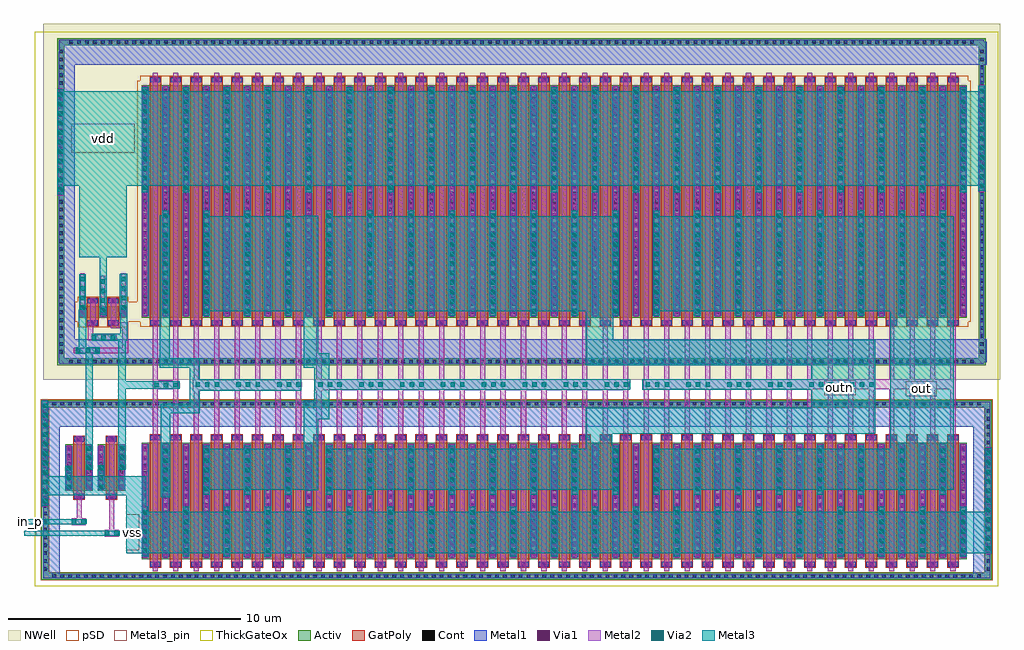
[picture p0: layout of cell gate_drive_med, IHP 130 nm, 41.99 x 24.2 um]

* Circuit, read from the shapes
.subckt gate_drive_med in_n in_p out outn vdd vss
XM1 sg13_hv_pmos_2TUKLB_1/D0 in_p vss vss sg13_hv_nmos w=2u l=0.5u
XM2 sg13_hv_nmos_CJ33WB_63/D1 in_n vss vss sg13_hv_nmos w=2u l=0.5u
XM3 sg13_hv_nmos_VCL2HP_2/G2 sg13_hv_nmos_CJ33WB_63/D1 vss vss sg13_hv_nmos w=5u l=0.5u m=2
XM4 sg13_hv_nmos_VCL2HP_2/G10 sg13_hv_nmos_VCL2HP_2/G2 vss vss sg13_hv_nmos w=5u l=0.5u m=6
XM5 outn sg13_hv_nmos_VCL2HP_2/G10 vss vss sg13_hv_nmos w=5u l=0.5u m=16
XM6 out outn vss vss sg13_hv_nmos w=5u l=0.5u m=16
XM7 vdd sg13_hv_nmos_CJ33WB_63/D1 sg13_hv_pmos_2TUKLB_1/D0 vdd sg13_hv_pmos w=0.5u l=0.5u
XM8 sg13_hv_nmos_CJ33WB_63/D1 sg13_hv_pmos_2TUKLB_1/D0 vdd vdd sg13_hv_pmos w=0.5u l=0.5u
XM9 sg13_hv_nmos_VCL2HP_2/G2 sg13_hv_nmos_CJ33WB_63/D1 vdd vdd sg13_hv_pmos w=10u l=0.5u m=2
XM10 sg13_hv_nmos_VCL2HP_2/G10 sg13_hv_nmos_VCL2HP_2/G2 vdd vdd sg13_hv_pmos w=10u l=0.5u m=6
XM11 outn sg13_hv_nmos_VCL2HP_2/G10 vdd vdd sg13_hv_pmos w=10u l=0.5u m=16
XM12 out outn vdd vdd sg13_hv_pmos w=10u l=0.5u m=16
.ends

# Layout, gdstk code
from math import pi, radians
import gdstk
lib = gdstk.Library(unit=1e-6, precision=1e-09)
def R(c, l, rs):  # rectangles x0, y0, x1, y1
    for r in rs: c.add(gdstk.rectangle(r[:2], r[2:], *l))
def A(c, l, x, y, w, h, nx, ny, dx, dy):  # array of equal rectangles
    R(c, l, [(x+i*dx, y+j*dy, x+i*dx+w, y+j*dy+h) for i in range(nx) for j in range(ny)])
Activ = (1, 0)
GatPoly = (5, 0)
Cont = (6, 0)
Metal1 = (8, 0)
Metal2 = (10, 0)
pSD = (14, 0)
Via1 = (19, 0)
Via2 = (29, 0)
Metal3 = (30, 0)
Metal3_pin = (30, 2)
NWell = (31, 0)
ThickGateOx = (44, 0)

via_y6z86n = lib.new_cell('via_Y6Z86N')
R(via_y6z86n, Metal2, [(-0.1,-1.105,0.1,1.105)])
A(via_y6z86n, Via2, -0.095, -0.915, 0.19, 0.19, 1, 5, 0, 0.41)
R(via_y6z86n, Metal3, [(-0.145,-1.06,0.145,1.06)])

sg13_hv_pmos_2tuklb = lib.new_cell('sg13_hv_pmos_2TUKLB')
R(sg13_hv_pmos_2tuklb, Activ, [(-1.03,-0.25,1.03,0.25)])
R(sg13_hv_pmos_2tuklb, GatPoly, [(-0.69,-0.62,-0.19,0.62), (0.19,-0.62,0.69,0.62)])
A(sg13_hv_pmos_2tuklb, Cont, -0.96, -0.08, 0.16, 0.16, 3, 1, 0.88, 0)
R(sg13_hv_pmos_2tuklb, Cont, [(-0.52,-0.55,-0.36,-0.39), (0.36,-0.55,0.52,-0.39), (-0.52,0.39,-0.36,0.55), (0.36,0.39,0.52,0.55)])
A(sg13_hv_pmos_2tuklb, Metal1, -1.03, -0.18, 0.3, 0.36, 3, 1, 0.88, 0)
R(sg13_hv_pmos_2tuklb, Metal1, [(-0.655,-0.575,-0.225,-0.365), (0.225,-0.575,0.655,-0.365), (-0.655,0.365,-0.225,0.575), (0.225,0.365,0.655,0.575)])
A(sg13_hv_pmos_2tuklb, Metal2, -0.98, -0.22, 0.2, 0.44, 3, 1, 0.88, 0)
R(sg13_hv_pmos_2tuklb, Metal2, [(-0.55,-0.615,-0.33,-0.325), (0.33,-0.615,0.55,-0.325), (-0.55,0.325,-0.33,0.615), (0.33,0.325,0.55,0.615)])
R(sg13_hv_pmos_2tuklb, pSD, [(-1.09,-0.65,1.09,-0.43), (-1.21,-0.43,1.21,0.43), (-1.09,0.43,1.09,0.65)])
A(sg13_hv_pmos_2tuklb, Via1, -0.975, -0.095, 0.19, 0.19, 3, 1, 0.88, 0)
R(sg13_hv_pmos_2tuklb, Via1, [(-0.535,-0.565,-0.345,-0.375), (0.345,-0.565,0.535,-0.375), (-0.535,0.375,-0.345,0.565), (0.345,0.375,0.535,0.565)])
R(sg13_hv_pmos_2tuklb, NWell, [(-1.65,-0.87,1.65,0.87)])
R(sg13_hv_pmos_2tuklb, ThickGateOx, [(-1.3,-0.52,1.3,0.52)])
sg13_hv_pmos_2tuklb.add(gdstk.Label('D0', (-0.88,0), layer=8, texttype=25))
sg13_hv_pmos_2tuklb.add(gdstk.Label('G0', (-0.44,0.47), layer=8, texttype=25))
sg13_hv_pmos_2tuklb.add(gdstk.Label('S1', (0,0), layer=8, texttype=25))
sg13_hv_pmos_2tuklb.add(gdstk.Label('G1', (0.44,0.47), layer=8, texttype=25))

sg13_hv_nmos_vcl2hp = lib.new_cell('sg13_hv_nmos_VCL2HP')
R(sg13_hv_nmos_vcl2hp, Activ, [(-17.75,-2.5,17.75,2.5)])
A(sg13_hv_nmos_vcl2hp, GatPoly, -17.41, -2.87, 0.5, 5.74, 40, 1, 0.88, 0)
A(sg13_hv_nmos_vcl2hp, Cont, -17.24, -2.8, 0.16, 0.16, 40, 2, 0.88, 5.44)
A(sg13_hv_nmos_vcl2hp, Cont, -17.68, -2.29, 0.16, 0.16, 41, 14, 0.88, 0.34)
A(sg13_hv_nmos_vcl2hp, Metal1, -17.375, -2.825, 0.43, 0.21, 40, 2, 0.88, 5.44)
A(sg13_hv_nmos_vcl2hp, Metal1, -17.75, -2.43, 0.3, 4.86, 41, 1, 0.88, 0)
A(sg13_hv_nmos_vcl2hp, Metal2, -17.27, -2.865, 0.22, 0.29, 40, 2, 0.88, 5.44)
A(sg13_hv_nmos_vcl2hp, Metal2, -17.7, -2.47, 0.2, 4.94, 41, 1, 0.88, 0)
A(sg13_hv_nmos_vcl2hp, Via1, -17.255, -2.815, 0.19, 0.19, 40, 2, 0.88, 5.44)
A(sg13_hv_nmos_vcl2hp, Via1, -17.695, -2.35, 0.19, 0.19, 41, 12, 0.88, 0.41)
R(sg13_hv_nmos_vcl2hp, ThickGateOx, [(-18.02,-2.77,18.02,2.77)])
sg13_hv_nmos_vcl2hp.add(gdstk.Label('D0', (-17.6,0), layer=8, texttype=25))
sg13_hv_nmos_vcl2hp.add(gdstk.Label('G0', (-17.16,2.72), layer=8, texttype=25))
sg13_hv_nmos_vcl2hp.add(gdstk.Label('S1', (-16.72,0), layer=8, texttype=25))
sg13_hv_nmos_vcl2hp.add(gdstk.Label('G1', (-16.28,2.72), layer=8, texttype=25))
sg13_hv_nmos_vcl2hp.add(gdstk.Label('D2', (-15.84,0), layer=8, texttype=25))
sg13_hv_nmos_vcl2hp.add(gdstk.Label('G2', (-15.4,2.72), layer=8, texttype=25))
sg13_hv_nmos_vcl2hp.add(gdstk.Label('S3', (-14.96,0), layer=8, texttype=25))
sg13_hv_nmos_vcl2hp.add(gdstk.Label('G3', (-14.52,2.72), layer=8, texttype=25))
sg13_hv_nmos_vcl2hp.add(gdstk.Label('D4', (-14.08,0), layer=8, texttype=25))
sg13_hv_nmos_vcl2hp.add(gdstk.Label('G4', (-13.64,2.72), layer=8, texttype=25))
sg13_hv_nmos_vcl2hp.add(gdstk.Label('S5', (-13.2,0), layer=8, texttype=25))
sg13_hv_nmos_vcl2hp.add(gdstk.Label('G5', (-12.76,2.72), layer=8, texttype=25))
sg13_hv_nmos_vcl2hp.add(gdstk.Label('D6', (-12.32,0), layer=8, texttype=25))
sg13_hv_nmos_vcl2hp.add(gdstk.Label('G6', (-11.88,2.72), layer=8, texttype=25))
sg13_hv_nmos_vcl2hp.add(gdstk.Label('S7', (-11.44,0), layer=8, texttype=25))
sg13_hv_nmos_vcl2hp.add(gdstk.Label('G7', (-11,2.72), layer=8, texttype=25))
sg13_hv_nmos_vcl2hp.add(gdstk.Label('D8', (-10.56,0), layer=8, texttype=25))
sg13_hv_nmos_vcl2hp.add(gdstk.Label('G8', (-10.12,2.72), layer=8, texttype=25))
sg13_hv_nmos_vcl2hp.add(gdstk.Label('S9', (-9.68,0), layer=8, texttype=25))
sg13_hv_nmos_vcl2hp.add(gdstk.Label('G9', (-9.24,2.72), layer=8, texttype=25))
sg13_hv_nmos_vcl2hp.add(gdstk.Label('D10', (-8.8,0), layer=8, texttype=25))
sg13_hv_nmos_vcl2hp.add(gdstk.Label('G10', (-8.36,2.72), layer=8, texttype=25))
sg13_hv_nmos_vcl2hp.add(gdstk.Label('S11', (-7.92,0), layer=8, texttype=25))
sg13_hv_nmos_vcl2hp.add(gdstk.Label('G11', (-7.48,2.72), layer=8, texttype=25))
sg13_hv_nmos_vcl2hp.add(gdstk.Label('D12', (-7.04,0), layer=8, texttype=25))
sg13_hv_nmos_vcl2hp.add(gdstk.Label('G12', (-6.6,2.72), layer=8, texttype=25))
sg13_hv_nmos_vcl2hp.add(gdstk.Label('S13', (-6.16,0), layer=8, texttype=25))
sg13_hv_nmos_vcl2hp.add(gdstk.Label('G13', (-5.72,2.72), layer=8, texttype=25))
sg13_hv_nmos_vcl2hp.add(gdstk.Label('D14', (-5.28,0), layer=8, texttype=25))
sg13_hv_nmos_vcl2hp.add(gdstk.Label('G14', (-4.84,2.72), layer=8, texttype=25))
sg13_hv_nmos_vcl2hp.add(gdstk.Label('S15', (-4.4,0), layer=8, texttype=25))
sg13_hv_nmos_vcl2hp.add(gdstk.Label('G15', (-3.96,2.72), layer=8, texttype=25))
sg13_hv_nmos_vcl2hp.add(gdstk.Label('D16', (-3.52,0), layer=8, texttype=25))
sg13_hv_nmos_vcl2hp.add(gdstk.Label('G16', (-3.08,2.72), layer=8, texttype=25))
sg13_hv_nmos_vcl2hp.add(gdstk.Label('S17', (-2.64,0), layer=8, texttype=25))
sg13_hv_nmos_vcl2hp.add(gdstk.Label('G17', (-2.2,2.72), layer=8, texttype=25))
sg13_hv_nmos_vcl2hp.add(gdstk.Label('D18', (-1.76,0), layer=8, texttype=25))
sg13_hv_nmos_vcl2hp.add(gdstk.Label('G18', (-1.32,2.72), layer=8, texttype=25))
sg13_hv_nmos_vcl2hp.add(gdstk.Label('S19', (-0.88,0), layer=8, texttype=25))
sg13_hv_nmos_vcl2hp.add(gdstk.Label('G19', (-0.44,2.72), layer=8, texttype=25))
sg13_hv_nmos_vcl2hp.add(gdstk.Label('D20', (0,0), layer=8, texttype=25))
sg13_hv_nmos_vcl2hp.add(gdstk.Label('G20', (0.44,2.72), layer=8, texttype=25))
sg13_hv_nmos_vcl2hp.add(gdstk.Label('S21', (0.88,0), layer=8, texttype=25))
sg13_hv_nmos_vcl2hp.add(gdstk.Label('G21', (1.32,2.72), layer=8, texttype=25))
sg13_hv_nmos_vcl2hp.add(gdstk.Label('D22', (1.76,0), layer=8, texttype=25))
sg13_hv_nmos_vcl2hp.add(gdstk.Label('G22', (2.2,2.72), layer=8, texttype=25))
sg13_hv_nmos_vcl2hp.add(gdstk.Label('S23', (2.64,0), layer=8, texttype=25))
sg13_hv_nmos_vcl2hp.add(gdstk.Label('G23', (3.08,2.72), layer=8, texttype=25))
sg13_hv_nmos_vcl2hp.add(gdstk.Label('D24', (3.52,0), layer=8, texttype=25))
sg13_hv_nmos_vcl2hp.add(gdstk.Label('G24', (3.96,2.72), layer=8, texttype=25))
sg13_hv_nmos_vcl2hp.add(gdstk.Label('S25', (4.4,0), layer=8, texttype=25))
sg13_hv_nmos_vcl2hp.add(gdstk.Label('G25', (4.84,2.72), layer=8, texttype=25))
sg13_hv_nmos_vcl2hp.add(gdstk.Label('D26', (5.28,0), layer=8, texttype=25))
sg13_hv_nmos_vcl2hp.add(gdstk.Label('G26', (5.72,2.72), layer=8, texttype=25))
sg13_hv_nmos_vcl2hp.add(gdstk.Label('S27', (6.16,0), layer=8, texttype=25))
sg13_hv_nmos_vcl2hp.add(gdstk.Label('G27', (6.6,2.72), layer=8, texttype=25))
sg13_hv_nmos_vcl2hp.add(gdstk.Label('D28', (7.04,0), layer=8, texttype=25))
sg13_hv_nmos_vcl2hp.add(gdstk.Label('G28', (7.48,2.72), layer=8, texttype=25))
sg13_hv_nmos_vcl2hp.add(gdstk.Label('S29', (7.92,0), layer=8, texttype=25))
sg13_hv_nmos_vcl2hp.add(gdstk.Label('G29', (8.36,2.72), layer=8, texttype=25))
sg13_hv_nmos_vcl2hp.add(gdstk.Label('D30', (8.8,0), layer=8, texttype=25))
sg13_hv_nmos_vcl2hp.add(gdstk.Label('G30', (9.24,2.72), layer=8, texttype=25))
sg13_hv_nmos_vcl2hp.add(gdstk.Label('S31', (9.68,0), layer=8, texttype=25))
sg13_hv_nmos_vcl2hp.add(gdstk.Label('G31', (10.12,2.72), layer=8, texttype=25))
sg13_hv_nmos_vcl2hp.add(gdstk.Label('D32', (10.56,0), layer=8, texttype=25))
sg13_hv_nmos_vcl2hp.add(gdstk.Label('G32', (11,2.72), layer=8, texttype=25))
sg13_hv_nmos_vcl2hp.add(gdstk.Label('S33', (11.44,0), layer=8, texttype=25))
sg13_hv_nmos_vcl2hp.add(gdstk.Label('G33', (11.88,2.72), layer=8, texttype=25))
sg13_hv_nmos_vcl2hp.add(gdstk.Label('D34', (12.32,0), layer=8, texttype=25))
sg13_hv_nmos_vcl2hp.add(gdstk.Label('G34', (12.76,2.72), layer=8, texttype=25))
sg13_hv_nmos_vcl2hp.add(gdstk.Label('S35', (13.2,0), layer=8, texttype=25))
sg13_hv_nmos_vcl2hp.add(gdstk.Label('G35', (13.64,2.72), layer=8, texttype=25))
sg13_hv_nmos_vcl2hp.add(gdstk.Label('D36', (14.08,0), layer=8, texttype=25))
sg13_hv_nmos_vcl2hp.add(gdstk.Label('G36', (14.52,2.72), layer=8, texttype=25))
sg13_hv_nmos_vcl2hp.add(gdstk.Label('S37', (14.96,0), layer=8, texttype=25))
sg13_hv_nmos_vcl2hp.add(gdstk.Label('G37', (15.4,2.72), layer=8, texttype=25))
sg13_hv_nmos_vcl2hp.add(gdstk.Label('D38', (15.84,0), layer=8, texttype=25))
sg13_hv_nmos_vcl2hp.add(gdstk.Label('G38', (16.28,2.72), layer=8, texttype=25))
sg13_hv_nmos_vcl2hp.add(gdstk.Label('S39', (16.72,0), layer=8, texttype=25))
sg13_hv_nmos_vcl2hp.add(gdstk.Label('G39', (17.16,2.72), layer=8, texttype=25))

via_y2rfx7 = lib.new_cell('via_Y2RFX7')
R(via_y2rfx7, Metal2, [(-0.1,-2.305,0.1,2.305)])
A(via_y2rfx7, Via2, -0.095, -2.145, 0.19, 0.19, 1, 11, 0, 0.41)
R(via_y2rfx7, Metal3, [(-0.145,-2.26,0.145,2.26)])

sg13_hv_pmos_g9zgu3 = lib.new_cell('sg13_hv_pmos_G9ZGU3')
R(sg13_hv_pmos_g9zgu3, Activ, [(-17.75,-5,17.75,5)])
A(sg13_hv_pmos_g9zgu3, GatPoly, -17.41, -5.37, 0.5, 10.74, 40, 1, 0.88, 0)
A(sg13_hv_pmos_g9zgu3, Cont, -17.24, -5.3, 0.16, 0.16, 40, 2, 0.88, 10.44)
A(sg13_hv_pmos_g9zgu3, Cont, -17.68, -4.84, 0.16, 0.16, 41, 29, 0.88, 0.34)
A(sg13_hv_pmos_g9zgu3, Metal1, -17.375, -5.325, 0.43, 0.21, 40, 2, 0.88, 10.44)
A(sg13_hv_pmos_g9zgu3, Metal1, -17.75, -4.93, 0.3, 9.86, 41, 1, 0.88, 0)
A(sg13_hv_pmos_g9zgu3, Metal2, -17.27, -5.365, 0.22, 0.29, 40, 2, 0.88, 10.44)
A(sg13_hv_pmos_g9zgu3, Metal2, -17.7, -4.97, 0.2, 9.94, 41, 1, 0.88, 0)
R(sg13_hv_pmos_g9zgu3, pSD, [(-17.81,-5.4,17.81,-5.18), (-17.93,-5.18,17.93,5.18), (-17.81,5.18,17.81,5.4)])
A(sg13_hv_pmos_g9zgu3, Via1, -17.255, -5.315, 0.19, 0.19, 40, 2, 0.88, 10.44)
A(sg13_hv_pmos_g9zgu3, Via1, -17.695, -4.81, 0.19, 0.19, 41, 24, 0.88, 0.41)
R(sg13_hv_pmos_g9zgu3, NWell, [(-18.37,-5.62,18.37,5.62)])
R(sg13_hv_pmos_g9zgu3, ThickGateOx, [(-18.02,-5.27,18.02,5.27)])
sg13_hv_pmos_g9zgu3.add(gdstk.Label('D0', (-17.6,0), layer=8, texttype=25))
sg13_hv_pmos_g9zgu3.add(gdstk.Label('G0', (-17.16,5.22), layer=8, texttype=25))
sg13_hv_pmos_g9zgu3.add(gdstk.Label('S1', (-16.72,0), layer=8, texttype=25))
sg13_hv_pmos_g9zgu3.add(gdstk.Label('G1', (-16.28,5.22), layer=8, texttype=25))
sg13_hv_pmos_g9zgu3.add(gdstk.Label('D2', (-15.84,0), layer=8, texttype=25))
sg13_hv_pmos_g9zgu3.add(gdstk.Label('G2', (-15.4,5.22), layer=8, texttype=25))
sg13_hv_pmos_g9zgu3.add(gdstk.Label('S3', (-14.96,0), layer=8, texttype=25))
sg13_hv_pmos_g9zgu3.add(gdstk.Label('G3', (-14.52,5.22), layer=8, texttype=25))
sg13_hv_pmos_g9zgu3.add(gdstk.Label('D4', (-14.08,0), layer=8, texttype=25))
sg13_hv_pmos_g9zgu3.add(gdstk.Label('G4', (-13.64,5.22), layer=8, texttype=25))
sg13_hv_pmos_g9zgu3.add(gdstk.Label('S5', (-13.2,0), layer=8, texttype=25))
sg13_hv_pmos_g9zgu3.add(gdstk.Label('G5', (-12.76,5.22), layer=8, texttype=25))
sg13_hv_pmos_g9zgu3.add(gdstk.Label('D6', (-12.32,0), layer=8, texttype=25))
sg13_hv_pmos_g9zgu3.add(gdstk.Label('G6', (-11.88,5.22), layer=8, texttype=25))
sg13_hv_pmos_g9zgu3.add(gdstk.Label('S7', (-11.44,0), layer=8, texttype=25))
sg13_hv_pmos_g9zgu3.add(gdstk.Label('G7', (-11,5.22), layer=8, texttype=25))
sg13_hv_pmos_g9zgu3.add(gdstk.Label('D8', (-10.56,0), layer=8, texttype=25))
sg13_hv_pmos_g9zgu3.add(gdstk.Label('G8', (-10.12,5.22), layer=8, texttype=25))
sg13_hv_pmos_g9zgu3.add(gdstk.Label('S9', (-9.68,0), layer=8, texttype=25))
sg13_hv_pmos_g9zgu3.add(gdstk.Label('G9', (-9.24,5.22), layer=8, texttype=25))
sg13_hv_pmos_g9zgu3.add(gdstk.Label('D10', (-8.8,0), layer=8, texttype=25))
sg13_hv_pmos_g9zgu3.add(gdstk.Label('G10', (-8.36,5.22), layer=8, texttype=25))
sg13_hv_pmos_g9zgu3.add(gdstk.Label('S11', (-7.92,0), layer=8, texttype=25))
sg13_hv_pmos_g9zgu3.add(gdstk.Label('G11', (-7.48,5.22), layer=8, texttype=25))
sg13_hv_pmos_g9zgu3.add(gdstk.Label('D12', (-7.04,0), layer=8, texttype=25))
sg13_hv_pmos_g9zgu3.add(gdstk.Label('G12', (-6.6,5.22), layer=8, texttype=25))
sg13_hv_pmos_g9zgu3.add(gdstk.Label('S13', (-6.16,0), layer=8, texttype=25))
sg13_hv_pmos_g9zgu3.add(gdstk.Label('G13', (-5.72,5.22), layer=8, texttype=25))
sg13_hv_pmos_g9zgu3.add(gdstk.Label('D14', (-5.28,0), layer=8, texttype=25))
sg13_hv_pmos_g9zgu3.add(gdstk.Label('G14', (-4.84,5.22), layer=8, texttype=25))
sg13_hv_pmos_g9zgu3.add(gdstk.Label('S15', (-4.4,0), layer=8, texttype=25))
sg13_hv_pmos_g9zgu3.add(gdstk.Label('G15', (-3.96,5.22), layer=8, texttype=25))
sg13_hv_pmos_g9zgu3.add(gdstk.Label('D16', (-3.52,0), layer=8, texttype=25))
sg13_hv_pmos_g9zgu3.add(gdstk.Label('G16', (-3.08,5.22), layer=8, texttype=25))
sg13_hv_pmos_g9zgu3.add(gdstk.Label('S17', (-2.64,0), layer=8, texttype=25))
sg13_hv_pmos_g9zgu3.add(gdstk.Label('G17', (-2.2,5.22), layer=8, texttype=25))
sg13_hv_pmos_g9zgu3.add(gdstk.Label('D18', (-1.76,0), layer=8, texttype=25))
sg13_hv_pmos_g9zgu3.add(gdstk.Label('G18', (-1.32,5.22), layer=8, texttype=25))
sg13_hv_pmos_g9zgu3.add(gdstk.Label('S19', (-0.88,0), layer=8, texttype=25))
sg13_hv_pmos_g9zgu3.add(gdstk.Label('G19', (-0.44,5.22), layer=8, texttype=25))
sg13_hv_pmos_g9zgu3.add(gdstk.Label('D20', (0,0), layer=8, texttype=25))
sg13_hv_pmos_g9zgu3.add(gdstk.Label('G20', (0.44,5.22), layer=8, texttype=25))
sg13_hv_pmos_g9zgu3.add(gdstk.Label('S21', (0.88,0), layer=8, texttype=25))
sg13_hv_pmos_g9zgu3.add(gdstk.Label('G21', (1.32,5.22), layer=8, texttype=25))
sg13_hv_pmos_g9zgu3.add(gdstk.Label('D22', (1.76,0), layer=8, texttype=25))
sg13_hv_pmos_g9zgu3.add(gdstk.Label('G22', (2.2,5.22), layer=8, texttype=25))
sg13_hv_pmos_g9zgu3.add(gdstk.Label('S23', (2.64,0), layer=8, texttype=25))
sg13_hv_pmos_g9zgu3.add(gdstk.Label('G23', (3.08,5.22), layer=8, texttype=25))
sg13_hv_pmos_g9zgu3.add(gdstk.Label('D24', (3.52,0), layer=8, texttype=25))
sg13_hv_pmos_g9zgu3.add(gdstk.Label('G24', (3.96,5.22), layer=8, texttype=25))
sg13_hv_pmos_g9zgu3.add(gdstk.Label('S25', (4.4,0), layer=8, texttype=25))
sg13_hv_pmos_g9zgu3.add(gdstk.Label('G25', (4.84,5.22), layer=8, texttype=25))
sg13_hv_pmos_g9zgu3.add(gdstk.Label('D26', (5.28,0), layer=8, texttype=25))
sg13_hv_pmos_g9zgu3.add(gdstk.Label('G26', (5.72,5.22), layer=8, texttype=25))
sg13_hv_pmos_g9zgu3.add(gdstk.Label('S27', (6.16,0), layer=8, texttype=25))
sg13_hv_pmos_g9zgu3.add(gdstk.Label('G27', (6.6,5.22), layer=8, texttype=25))
sg13_hv_pmos_g9zgu3.add(gdstk.Label('D28', (7.04,0), layer=8, texttype=25))
sg13_hv_pmos_g9zgu3.add(gdstk.Label('G28', (7.48,5.22), layer=8, texttype=25))
sg13_hv_pmos_g9zgu3.add(gdstk.Label('S29', (7.92,0), layer=8, texttype=25))
sg13_hv_pmos_g9zgu3.add(gdstk.Label('G29', (8.36,5.22), layer=8, texttype=25))
sg13_hv_pmos_g9zgu3.add(gdstk.Label('D30', (8.8,0), layer=8, texttype=25))
sg13_hv_pmos_g9zgu3.add(gdstk.Label('G30', (9.24,5.22), layer=8, texttype=25))
sg13_hv_pmos_g9zgu3.add(gdstk.Label('S31', (9.68,0), layer=8, texttype=25))
sg13_hv_pmos_g9zgu3.add(gdstk.Label('G31', (10.12,5.22), layer=8, texttype=25))
sg13_hv_pmos_g9zgu3.add(gdstk.Label('D32', (10.56,0), layer=8, texttype=25))
sg13_hv_pmos_g9zgu3.add(gdstk.Label('G32', (11,5.22), layer=8, texttype=25))
sg13_hv_pmos_g9zgu3.add(gdstk.Label('S33', (11.44,0), layer=8, texttype=25))
sg13_hv_pmos_g9zgu3.add(gdstk.Label('G33', (11.88,5.22), layer=8, texttype=25))
sg13_hv_pmos_g9zgu3.add(gdstk.Label('D34', (12.32,0), layer=8, texttype=25))
sg13_hv_pmos_g9zgu3.add(gdstk.Label('G34', (12.76,5.22), layer=8, texttype=25))
sg13_hv_pmos_g9zgu3.add(gdstk.Label('S35', (13.2,0), layer=8, texttype=25))
sg13_hv_pmos_g9zgu3.add(gdstk.Label('G35', (13.64,5.22), layer=8, texttype=25))
sg13_hv_pmos_g9zgu3.add(gdstk.Label('D36', (14.08,0), layer=8, texttype=25))
sg13_hv_pmos_g9zgu3.add(gdstk.Label('G36', (14.52,5.22), layer=8, texttype=25))
sg13_hv_pmos_g9zgu3.add(gdstk.Label('S37', (14.96,0), layer=8, texttype=25))
sg13_hv_pmos_g9zgu3.add(gdstk.Label('G37', (15.4,5.22), layer=8, texttype=25))
sg13_hv_pmos_g9zgu3.add(gdstk.Label('D38', (15.84,0), layer=8, texttype=25))
sg13_hv_pmos_g9zgu3.add(gdstk.Label('G38', (16.28,5.22), layer=8, texttype=25))
sg13_hv_pmos_g9zgu3.add(gdstk.Label('S39', (16.72,0), layer=8, texttype=25))
sg13_hv_pmos_g9zgu3.add(gdstk.Label('G39', (17.16,5.22), layer=8, texttype=25))

via_y2rfw7 = lib.new_cell('via_Y2RFW7')
R(via_y2rfw7, Metal1, [(-0.145,-2.265,0.145,2.265)])
R(via_y2rfw7, Metal2, [(-0.1,-2.305,0.1,2.305)])
A(via_y2rfw7, Via1, -0.095, -2.145, 0.19, 0.19, 1, 11, 0, 0.41)
A(via_y2rfw7, Via2, -0.095, -2.145, 0.19, 0.19, 1, 11, 0, 0.41)
R(via_y2rfw7, Metal3, [(-0.145,-2.26,0.145,2.26)])

via_y6h96n = lib.new_cell('via_Y6H96N')
R(via_y6h96n, Metal2, [(-0.1,-0.865,0.1,0.865)])
A(via_y6h96n, Via2, -0.095, -0.71, 0.19, 0.19, 1, 4, 0, 0.41)
R(via_y6h96n, Metal3, [(-0.145,-0.82,0.145,0.82)])

sg13_hv_nmos_cj33wb = lib.new_cell('sg13_hv_nmos_CJ33WB')
R(sg13_hv_nmos_cj33wb, Activ, [(-1.285,-1,-0.105,1), (0.105,-1,1.285,1)])
R(sg13_hv_nmos_cj33wb, GatPoly, [(-0.945,-1.37,-0.445,1.37), (0.445,-1.37,0.945,1.37)])
A(sg13_hv_nmos_cj33wb, Cont, -1.215, -0.93, 0.16, 0.16, 1, 6, 0, 0.34)
A(sg13_hv_nmos_cj33wb, Cont, -0.335, -0.93, 0.16, 0.16, 1, 6, 0, 0.34)
A(sg13_hv_nmos_cj33wb, Cont, 0.175, -0.93, 0.16, 0.16, 1, 6, 0, 0.34)
A(sg13_hv_nmos_cj33wb, Cont, 1.055, -0.93, 0.16, 0.16, 1, 6, 0, 0.34)
R(sg13_hv_nmos_cj33wb, Cont, [(-0.775,-1.3,-0.615,-1.14), (0.615,-1.3,0.775,-1.14), (-0.775,1.14,-0.615,1.3), (0.615,1.14,0.775,1.3)])
R(sg13_hv_nmos_cj33wb, Metal1, [(-0.91,-1.325,-0.48,-1.115), (0.48,-1.325,0.91,-1.115), (-1.285,-0.93,-0.985,0.93), (-0.405,-0.93,-0.105,0.93), (0.105,-0.93,0.405,0.93), (0.985,-0.93,1.285,0.93), (-0.91,1.115,-0.48,1.325), (0.48,1.115,0.91,1.325)])
R(sg13_hv_nmos_cj33wb, Metal2, [(-0.835,-1.365,-0.555,-1.075), (0.555,-1.365,0.835,-1.075), (-1.235,-0.97,-1.035,0.97), (-0.355,-0.97,-0.155,0.97), (0.155,-0.97,0.355,0.97), (1.035,-0.97,1.235,0.97), (-0.835,1.075,-0.555,1.365), (0.555,1.075,0.835,1.365)])
A(sg13_hv_nmos_cj33wb, Via1, -1.23, -0.915, 0.19, 0.19, 1, 5, 0, 0.41)
A(sg13_hv_nmos_cj33wb, Via1, -0.35, -0.915, 0.19, 0.19, 1, 5, 0, 0.41)
A(sg13_hv_nmos_cj33wb, Via1, 0.16, -0.915, 0.19, 0.19, 1, 5, 0, 0.41)
A(sg13_hv_nmos_cj33wb, Via1, 1.04, -0.915, 0.19, 0.19, 1, 5, 0, 0.41)
R(sg13_hv_nmos_cj33wb, Via1, [(-0.79,-1.315,-0.6,-1.125), (0.6,-1.315,0.79,-1.125), (-0.79,1.125,-0.6,1.315), (0.6,1.125,0.79,1.315)])
R(sg13_hv_nmos_cj33wb, ThickGateOx, [(-1.555,-1.27,1.555,1.27)])
sg13_hv_nmos_cj33wb.add(gdstk.Label('D0', (-1.135,0), layer=8, texttype=25))
sg13_hv_nmos_cj33wb.add(gdstk.Label('S0', (-0.255,0), layer=8, texttype=25))
sg13_hv_nmos_cj33wb.add(gdstk.Label('G0', (-0.695,1.22), layer=8, texttype=25))
sg13_hv_nmos_cj33wb.add(gdstk.Label('D1', (1.135,0), layer=8, texttype=25))
sg13_hv_nmos_cj33wb.add(gdstk.Label('S1', (0.255,0), layer=8, texttype=25))
sg13_hv_nmos_cj33wb.add(gdstk.Label('G1', (0.695,1.22), layer=8, texttype=25))

via_y6zd6n = lib.new_cell('via_Y6ZD6N')
R(via_y6zd6n, Metal2, [(-0.1,-0.555,0.1,0.555)])
A(via_y6zd6n, Via2, -0.095, -0.505, 0.19, 0.19, 1, 3, 0, 0.41)
R(via_y6zd6n, Metal3, [(-0.145,-0.51,0.145,0.51)])

via_y6z2dq_x2 = lib.new_cell('via_Y6Z2DQ_x2')
R(via_y6z2dq_x2, Metal2, [(-0.305,-0.145,0.305,0.145)])
R(via_y6z2dq_x2, Via2, [(-0.3,-0.095,-0.11,0.095), (0.11,-0.095,0.3,0.095)])
R(via_y6z2dq_x2, Metal3, [(-0.35,-0.1,0.35,0.1)])

gate_drive_med = lib.new_cell('gate_drive_med')
R(gate_drive_med, Activ, [(-5.97,-1.46,34.92,-1.16), (-5.97,-1.16,-5.67,5.97), (34.62,-1.16,34.92,5.97), (-5.97,5.97,34.92,6.27), (-5.28,7.77,34.65,8.07), (-5.28,8.07,-4.98,21.54), (34.35,8.07,34.65,21.54), (-5.28,21.54,34.65,21.84)])
A(gate_drive_med, Cont, -5.495, -1.39, 0.16, 0.16, 118, 2, 0.34, 7.43)
A(gate_drive_med, Cont, -5.9, -1.075, 0.16, 0.16, 1, 21, 0, 0.34)
A(gate_drive_med, Cont, 34.69, -1.075, 0.16, 0.16, 1, 21, 0, 0.34)
A(gate_drive_med, Cont, -4.775, 7.84, 0.16, 0.16, 115, 2, 0.34, 13.77)
A(gate_drive_med, Cont, -5.21, 8.265, 0.16, 0.16, 1, 39, 0, 0.34)
A(gate_drive_med, Cont, 34.42, 8.265, 0.16, 0.16, 1, 39, 0, 0.34)
R(gate_drive_med, Metal1, [(-5.9,-1.39,34.85,-1.23), (-5.9,-1.23,-5.19,5.13), (34.11,-1.23,34.85,5.13), (-5.9,5.13,34.85,6.2), (-5.21,7.84,34.58,7.9), (-5.21,7.9,34.71,7.92), (-5.22,7.92,34.71,8.89), (-5.22,8.89,-4.53,20.7), (34.42,8.89,34.58,20.7), (-5.22,20.7,34.71,21.26), (-5.21,21.26,34.71,21.69), (-5.21,21.69,34.58,21.77)])
A(gate_drive_med, Metal2, 0.58, -1.1, 0.22, 7.785, 22, 1, 0.88, 0)
A(gate_drive_med, Metal2, 19.94, -1.1, 0.22, 7.835, 16, 1, 0.88, 0)
A(gate_drive_med, Metal2, 0.58, 7.135, 0.22, 13.225, 6, 1, 0.88, 0)
A(gate_drive_med, Metal2, 5.86, 7.165, 0.22, 13.195, 16, 1, 0.88, 0)
A(gate_drive_med, Metal2, 19.94, 7.175, 0.22, 13.185, 16, 1, 0.88, 0)
R(gate_drive_med, Metal2, [(-1.18,-1.1,-0.96,6.745), (-0.3,-1.1,-0.08,6.745), (-3.05,0.41,-2.83,4.53), (-4.46,0.91,-4.24,4.65), (0.54,6.685,5.2,7.135), (5.785,6.685,19.285,7.165), (19.925,6.735,33.36,7.175), (-1.18,6.745,-0.08,7.12), (-1.18,7.12,-0.96,20.36), (-0.3,7.12,-0.08,20.36), (-4.58,8.28,-2.245,8.53), (-2.495,8.53,-2.245,9.365), (-3.98,8.84,-2.82,9.07), (-3.98,9.07,-3.75,9.625), (-2.98,9.365,-2.245,9.615), (-2.98,9.615,-2.76,10.55), (-3.86,9.63,-3.64,10.55)])
R(gate_drive_med, pSD, [(-6,-1.49,34.95,-1.13), (-6,-1.13,-5.64,5.94), (34.59,-1.13,34.95,5.94), (-6,5.94,34.95,6.3), (-2.11,9.64,-1.84,10.49)])
R(gate_drive_med, Metal3, [(-2.32,-0.32,34.875,1.47), (-6.72,0.43,-2.61,0.65), (-6.72,0.93,-4.07,1.15), (-2.32,1.47,-1.46,2.18), (-0.84,2.08,-0.43,5.7), (-5.965,2.18,-1.46,2.99), (5.31,2.4,5.94,2.41), (1.07,2.41,5.94,4.17), (6.4,2.41,18.59,4.17), (20.45,2.41,33.29,4.17), (-4.07,3.27,-3.76,8.33), (-2.66,3.27,-2.35,6.765), (5.31,4.17,5.94,5.455), (17.44,4.17,18.59,4.83), (30.54,4.17,33.29,10.09), (17.44,4.83,29.895,5.82), (5.31,5.455,6.405,6.24), (-0.84,5.7,0.84,6.12), (17.455,5.82,29.895,5.93), (27.155,5.93,29.895,6.72), (0.42,6.12,0.84,6.67), (5.775,6.24,6.405,6.72), (0.42,6.67,5.21,7.16), (5.775,6.72,19.36,7.16), (19.88,6.72,29.895,7.16), (-2.66,6.765,-0.025,7.075), (-2.66,7.075,-2.35,8.82), (0.42,7.16,0.84,7.65), (5.775,7.16,6.405,7.655), (27.155,7.16,29.895,7.77), (-0.87,7.65,0.84,8.07), (5.31,7.655,6.405,8.285), (17.45,7.77,29.895,8.87), (-0.87,8.07,-0.45,14.22), (5.31,8.285,5.94,10.09), (-4.36,8.33,-3.76,8.55), (-4.36,8.55,-4.05,10.15), (-3.8,8.82,-2.35,8.83), (-3.8,8.83,-2.275,9.13), (17.45,8.87,18.63,10.09), (27.155,8.87,29.895,8.875), (-2.585,9.13,-2.275,11.71), (1.1,10.09,5.94,14.17), (6.36,10.09,18.63,10.22), (20.475,10.09,33.29,14.17), (6.36,10.22,18.725,14.17), (-3.47,10.34,-3.16,12.425), (-4.35,12.425,-2.3,15.5), (5.31,14.17,5.94,14.21), (30.54,14.17,33.29,14.175), (-5.225,15.5,34.595,19.55)])
R(gate_drive_med, Metal3_pin, [(-2.32,-0.2,-1.76,1.35), (-6.72,0.43,-6.2,0.65), (-6.72,0.93,-6.2,1.15), (31.22,6.44,32.55,7.08), (27.71,6.48,29.06,7.13), (-4.68,16.9,-1.96,18.16)])
R(gate_drive_med, NWell, [(-5.9,7.15,35.27,22.46)])
R(gate_drive_med, ThickGateOx, [(-6.25,-1.74,35.2,22.11)])
gate_drive_med.add(gdstk.Reference(via_y6z86n, (14.33,0.61), x_reflection=True))
gate_drive_med.add(gdstk.Reference(sg13_hv_pmos_2tuklb, (-3.32,10.06)))
gate_drive_med.add(gdstk.Reference(sg13_hv_nmos_vcl2hp, (16.09,1.93)))
gate_drive_med.add(gdstk.Reference(via_y2rfx7, (14.33,17.465)))
gate_drive_med.add(gdstk.Reference(sg13_hv_pmos_g9zgu3, (16.09,14.82)))
gate_drive_med.add(gdstk.Reference(via_y2rfx7, (20.49,12.15)))
gate_drive_med.add(gdstk.Reference(via_y2rfx7, (18.73,12.15)))
gate_drive_med.add(gdstk.Reference(via_y2rfx7, (24.01,12.15)))
gate_drive_med.add(gdstk.Reference(via_y2rfx7, (22.25,12.15)))
gate_drive_med.add(gdstk.Reference(via_y2rfx7, (25.77,12.15)))
gate_drive_med.add(gdstk.Reference(via_y2rfx7, (29.29,12.15)))
gate_drive_med.add(gdstk.Reference(via_y2rfx7, (27.53,12.15)))
gate_drive_med.add(gdstk.Reference(via_y2rfx7, (31.05,12.15)))
gate_drive_med.add(gdstk.Reference(via_y2rfx7, (32.81,12.15)))
gate_drive_med.add(gdstk.Reference(via_y2rfx7, (15.21,12.15)))
gate_drive_med.add(gdstk.Reference(via_y2rfx7, (17.85,17.465)))
gate_drive_med.add(gdstk.Reference(via_y2rfx7, (16.09,17.465)))
gate_drive_med.add(gdstk.Reference(via_y2rfx7, (21.37,17.465)))
gate_drive_med.add(gdstk.Reference(via_y2rfx7, (19.61,17.465)))
gate_drive_med.add(gdstk.Reference(via_y2rfx7, (23.13,17.465)))
gate_drive_med.add(gdstk.Reference(via_y2rfx7, (26.65,17.465)))
gate_drive_med.add(gdstk.Reference(via_y2rfx7, (24.89,17.465)))
gate_drive_med.add(gdstk.Reference(via_y2rfx7, (28.41,17.465)))
gate_drive_med.add(gdstk.Reference(via_y2rfx7, (31.93,17.465)))
gate_drive_med.add(gdstk.Reference(via_y2rfx7, (30.17,17.465)))
gate_drive_med.add(gdstk.Reference(via_y2rfx7, (33.69,17.465)))
gate_drive_med.add(gdstk.Reference(via_y2rfw7, (34.485,17.525)))
gate_drive_med.add(gdstk.Reference(via_y2rfx7, (16.97,12.15)))
gate_drive_med.add(gdstk.Reference(via_y2rfx7, (2.01,17.465)))
gate_drive_med.add(gdstk.Reference(via_y2rfx7, (0.25,17.465)))
gate_drive_med.add(gdstk.Reference(via_y2rfx7, (3.77,17.465)))
gate_drive_med.add(gdstk.Reference(via_y2rfx7, (7.29,17.465)))
gate_drive_med.add(gdstk.Reference(via_y2rfx7, (5.53,17.465)))
gate_drive_med.add(gdstk.Reference(via_y2rfx7, (9.05,17.465)))
gate_drive_med.add(gdstk.Reference(via_y2rfx7, (12.57,17.465)))
gate_drive_med.add(gdstk.Reference(via_y2rfx7, (10.81,17.465)))
gate_drive_med.add(gdstk.Reference(via_y6h96n, (-3.32,10.755)))
gate_drive_med.add(gdstk.Reference(via_y2rfx7, (13.45,12.15)))
gate_drive_med.add(gdstk.Reference(via_y6h96n, (-4.205,10.865)))
gate_drive_med.add(gdstk.Reference(via_y6h96n, (-2.445,10.865)))
gate_drive_med.add(gdstk.Reference(via_y2rfx7, (-0.63,12.15)))
gate_drive_med.add(gdstk.Reference(via_y2rfx7, (1.13,12.15)))
gate_drive_med.add(gdstk.Reference(via_y2rfx7, (4.65,12.15)))
gate_drive_med.add(gdstk.Reference(via_y2rfx7, (2.89,12.15)))
gate_drive_med.add(gdstk.Reference(via_y2rfx7, (6.41,12.15)))
gate_drive_med.add(gdstk.Reference(via_y2rfx7, (9.93,12.15)))
gate_drive_med.add(gdstk.Reference(via_y2rfx7, (8.17,12.15)))
gate_drive_med.add(gdstk.Reference(via_y2rfx7, (11.69,12.15)))
gate_drive_med.add(gdstk.Reference(via_y2rfw7, (-5.145,17.375)))
gate_drive_med.add(gdstk.Reference(via_y2rfx7, (-1.51,17.465)))
gate_drive_med.add(gdstk.Reference(via_y6z86n, (2.89,3.255), x_reflection=True))
gate_drive_med.add(gdstk.Reference(via_y6z86n, (3.77,0.61), x_reflection=True))
gate_drive_med.add(gdstk.Reference(via_y6z86n, (4.65,3.255), x_reflection=True))
gate_drive_med.add(gdstk.Reference(via_y6z86n, (5.53,0.61), x_reflection=True))
gate_drive_med.add(gdstk.Reference(via_y6z86n, (6.41,3.255), x_reflection=True))
gate_drive_med.add(gdstk.Reference(via_y6z86n, (7.29,0.61), x_reflection=True))
gate_drive_med.add(gdstk.Reference(via_y6z86n, (8.17,3.255), x_reflection=True))
gate_drive_med.add(gdstk.Reference(via_y6z86n, (9.05,0.61), x_reflection=True))
gate_drive_med.add(gdstk.Reference(via_y6z86n, (9.93,3.255), x_reflection=True))
gate_drive_med.add(gdstk.Reference(via_y6z86n, (10.81,0.61), x_reflection=True))
gate_drive_med.add(gdstk.Reference(via_y6z86n, (11.69,3.255), x_reflection=True))
gate_drive_med.add(gdstk.Reference(via_y6z86n, (12.57,0.61), x_reflection=True))
gate_drive_med.add(gdstk.Reference(via_y6z86n, (13.45,3.255), x_reflection=True))
gate_drive_med.add(gdstk.Reference(sg13_hv_nmos_cj33wb, (-3.655,3.36)))
gate_drive_med.add(gdstk.Reference(via_y6zd6n, (-0.615,6.915), rotation=3*pi/2))
gate_drive_med.add(gdstk.Reference(via_y6zd6n, (1.165,6.945), rotation=3*pi/2))
gate_drive_med.add(gdstk.Reference(via_y6zd6n, (2.925,6.945), rotation=3*pi/2))
gate_drive_med.add(gdstk.Reference(via_y6zd6n, (4.685,6.945), rotation=3*pi/2))
gate_drive_med.add(gdstk.Reference(via_y6zd6n, (6.445,6.945), rotation=3*pi/2))
gate_drive_med.add(gdstk.Reference(via_y6zd6n, (8.205,6.945), rotation=3*pi/2))
gate_drive_med.add(gdstk.Reference(via_y6zd6n, (9.965,6.945), rotation=3*pi/2))
gate_drive_med.add(gdstk.Reference(via_y6zd6n, (11.725,6.945), rotation=3*pi/2))
gate_drive_med.add(gdstk.Reference(via_y6zd6n, (13.485,6.945), rotation=3*pi/2))
gate_drive_med.add(gdstk.Reference(via_y2rfw7, (-5.825,3.975)))
gate_drive_med.add(gdstk.Reference(via_y6zd6n, (-3.975,8.405), rotation=3*pi/2))
gate_drive_med.add(gdstk.Reference(via_y6zd6n, (-3.295,8.965), rotation=3*pi/2))
gate_drive_med.add(gdstk.Reference(via_y6z2dq_x2, (-4.36,1.04)))
gate_drive_med.add(gdstk.Reference(via_y6zd6n, (-4.795,2.94)))
gate_drive_med.add(gdstk.Reference(via_y6zd6n, (-3.405,2.945)))
gate_drive_med.add(gdstk.Reference(via_y6zd6n, (-3.915,3.785)))
gate_drive_med.add(gdstk.Reference(via_y6z2dq_x2, (-2.945,0.54)))
gate_drive_med.add(gdstk.Reference(via_y6z86n, (-1.51,0.61), x_reflection=True))
gate_drive_med.add(gdstk.Reference(via_y6zd6n, (-2.495,3.805)))
gate_drive_med.add(gdstk.Reference(via_y6z86n, (-0.63,3.255), x_reflection=True))
gate_drive_med.add(gdstk.Reference(via_y6z86n, (0.25,0.61), x_reflection=True))
gate_drive_med.add(gdstk.Reference(via_y6z86n, (1.13,3.255), x_reflection=True))
gate_drive_med.add(gdstk.Reference(via_y6z86n, (2.01,0.61), x_reflection=True))
gate_drive_med.add(gdstk.Reference(via_y6z86n, (19.61,0.61), x_reflection=True))
gate_drive_med.add(gdstk.Reference(via_y6z86n, (20.49,3.255), x_reflection=True))
gate_drive_med.add(gdstk.Reference(via_y6z86n, (21.37,0.61), x_reflection=True))
gate_drive_med.add(gdstk.Reference(via_y6z86n, (22.25,3.255), x_reflection=True))
gate_drive_med.add(gdstk.Reference(via_y6zd6n, (15.245,6.945), rotation=3*pi/2))
gate_drive_med.add(gdstk.Reference(via_y6zd6n, (17.005,6.945), rotation=3*pi/2))
gate_drive_med.add(gdstk.Reference(via_y6zd6n, (18.765,6.945), rotation=3*pi/2))
gate_drive_med.add(gdstk.Reference(via_y6zd6n, (20.525,6.945), rotation=3*pi/2))
gate_drive_med.add(gdstk.Reference(via_y6zd6n, (22.285,6.945), rotation=3*pi/2))
gate_drive_med.add(gdstk.Reference(via_y6zd6n, (24.045,6.945), rotation=3*pi/2))
gate_drive_med.add(gdstk.Reference(via_y6zd6n, (25.805,6.945), rotation=3*pi/2))
gate_drive_med.add(gdstk.Reference(via_y6zd6n, (27.565,6.945), rotation=3*pi/2))
gate_drive_med.add(gdstk.Reference(via_y6zd6n, (29.325,6.945), rotation=3*pi/2))
gate_drive_med.add(gdstk.Reference(via_y6z86n, (23.13,0.61), x_reflection=True))
gate_drive_med.add(gdstk.Reference(via_y6z86n, (24.01,3.255), x_reflection=True))
gate_drive_med.add(gdstk.Reference(via_y6z86n, (24.89,0.61), x_reflection=True))
gate_drive_med.add(gdstk.Reference(via_y6z86n, (25.77,3.255), x_reflection=True))
gate_drive_med.add(gdstk.Reference(via_y6z86n, (26.65,0.61), x_reflection=True))
gate_drive_med.add(gdstk.Reference(via_y6z86n, (27.53,3.255), x_reflection=True))
gate_drive_med.add(gdstk.Reference(via_y6z86n, (28.41,0.61), x_reflection=True))
gate_drive_med.add(gdstk.Reference(via_y6z86n, (29.29,3.255), x_reflection=True))
gate_drive_med.add(gdstk.Reference(via_y6z86n, (30.17,0.61), x_reflection=True))
gate_drive_med.add(gdstk.Reference(via_y6z86n, (31.05,3.255), x_reflection=True))
gate_drive_med.add(gdstk.Reference(via_y6z86n, (31.93,0.61), x_reflection=True))
gate_drive_med.add(gdstk.Reference(via_y2rfw7, (34.765,1.945)))
gate_drive_med.add(gdstk.Reference(via_y6z86n, (33.69,0.61), x_reflection=True))
gate_drive_med.add(gdstk.Reference(via_y6z86n, (32.81,3.255), x_reflection=True))
gate_drive_med.add(gdstk.Reference(via_y6z86n, (15.21,3.255), x_reflection=True))
gate_drive_med.add(gdstk.Reference(via_y6z86n, (16.09,0.61), x_reflection=True))
gate_drive_med.add(gdstk.Reference(via_y6z86n, (16.97,3.255), x_reflection=True))
gate_drive_med.add(gdstk.Reference(via_y6z86n, (17.85,0.61), x_reflection=True))
gate_drive_med.add(gdstk.Reference(via_y6z86n, (18.73,3.255), x_reflection=True))
gate_drive_med.add(gdstk.Label('in_p', (-6.46,1.04), layer=30, texttype=25))
gate_drive_med.add(gdstk.Label('in_n', (-6.46,0.54), layer=30, texttype=25))
gate_drive_med.add(gdstk.Label('vdd', (-3.32,17.53), layer=30, texttype=25))
gate_drive_med.add(gdstk.Label('vss', (-2.04,0.575), layer=30, texttype=25))
gate_drive_med.add(gdstk.Label('out', (31.885,6.76), layer=30, texttype=25))
gate_drive_med.add(gdstk.Label('outn', (28.385,6.805), layer=30, texttype=25))

lib.write_gds('gate_drive_med.gds')
